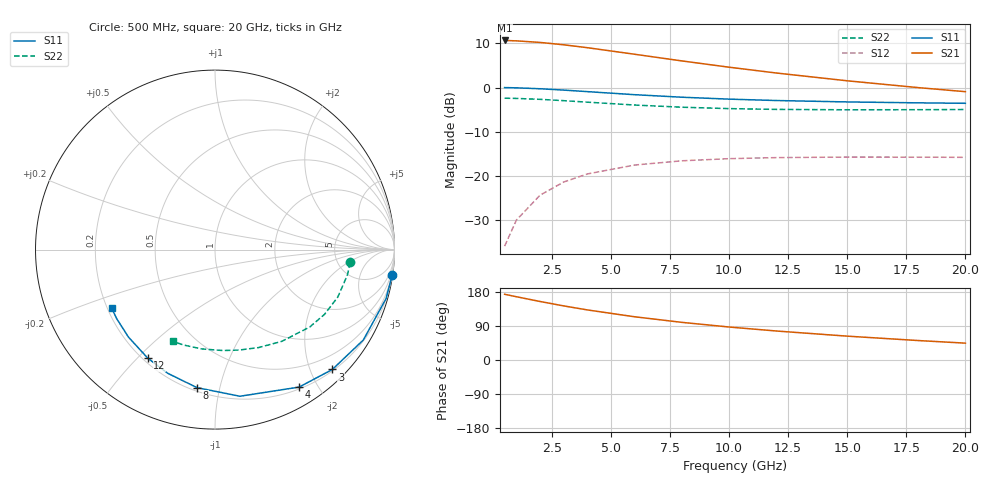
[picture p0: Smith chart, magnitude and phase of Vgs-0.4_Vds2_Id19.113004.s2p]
# Hz S RI R 50
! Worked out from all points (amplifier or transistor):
!   12 points, 500 MHz to 20 GHz, reference 50 ohm
!   highest |S21| = 10.7 dB at 500 MHz (marker M1)
!   |S21| within 3 dB of that: start of sweep to 5.823 GHz
!   unconditionally stable (mu >= 1): 17.12 GHz to end of sweep
!   at 2 GHz: K = 0.11, MSG = 17.3 dB, |S12| = -24.5 dB
!   at 8 GHz: K = 0.44, MSG = 11.3 dB, |S12| = -16.7 dB
!   at 20 GHz: K = 1.21, MAG = 4.7 dB, |S12| = -15.9 dB
!   S11 on the Smith chart (normalised r, x): 500 MHz: 0, -14; 3 GHz: 0.22, -2.36; 4 GHz: 0.22, -1.76; 8 GHz: 0.22, -0.85; 12 GHz: 0.22, -0.54; 20 GHz: 0.22, -0.25
5e8  0.988 -0.1395  -3.401 0.391  0.00152 0.0157  0.7529 -0.0713
1e9  0.953 -0.273  -3.299 0.7646  0.00596 0.0306  0.7382 -0.1403
2e9  0.8265 -0.5035  -2.932 1.404  0.022 0.0557  0.6846 -0.2638
3e9  0.6538 -0.6679  -2.434 1.849  0.0437 0.0722  0.6101 -0.3608
4e9  0.4683 -0.766  -1.902 2.1  0.0666 0.0801  0.5278 -0.4313
6e9  0.139 -0.8171  -0.9739 2.179  0.1062 0.0776  0.3718 -0.5114
8e9  -0.1004 -0.769  -0.3251 1.978  0.1329 0.063  0.2418 -0.546
1e10  -0.2635 -0.6891  0.0876 1.698  0.1487 0.0453  0.135 -0.5596
1.2e10  -0.3748 -0.6046  0.3413 1.421  0.1573 0.0283  0.0438 -0.5624
1.5e10  -0.4823 -0.4873  0.542 1.061  0.162 0.00618  -0.0738 -0.5534
1.8e10  -0.5475 -0.3852  0.6227 0.7791  0.1614 -0.0116  -0.1747 -0.5318
2e10  -0.5766 -0.3247  0.64 0.6282  0.1595 -0.0213  -0.2341 -0.5115
